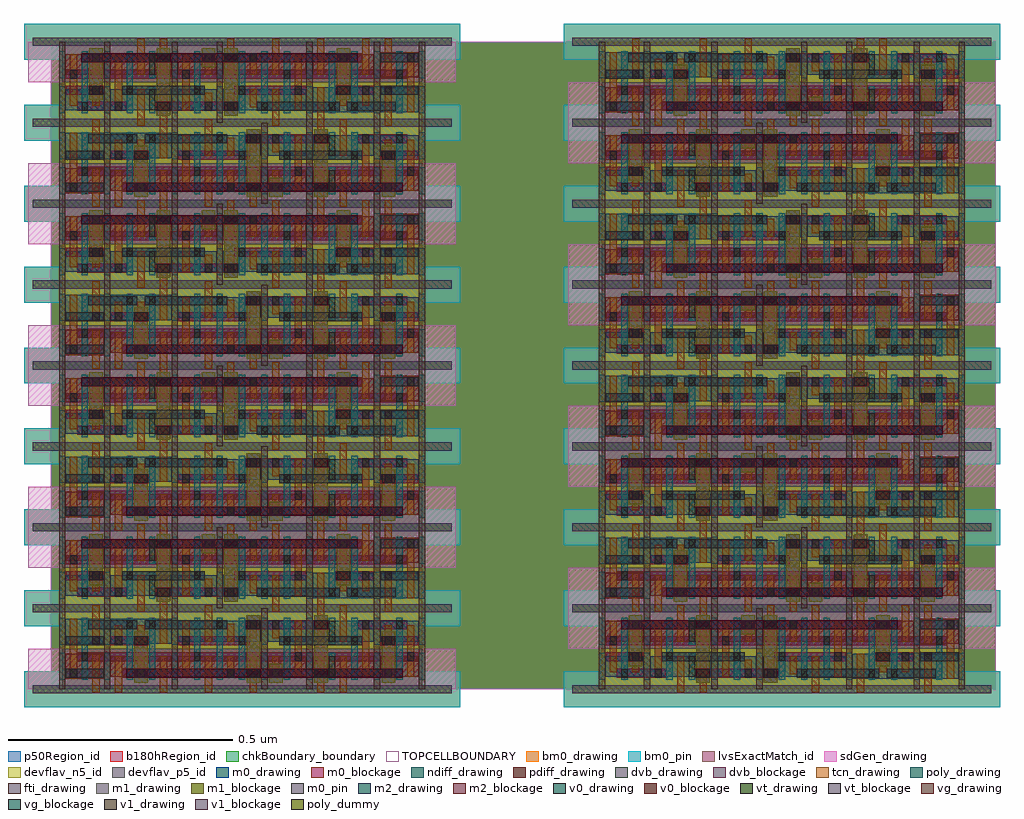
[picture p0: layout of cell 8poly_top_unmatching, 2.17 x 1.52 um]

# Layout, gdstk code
from math import pi, radians
import gdstk
lib = gdstk.Library(unit=1e-6, precision=5e-10)
def R(c, l, rs):  # rectangles x0, y0, x1, y1
    for r in rs: c.add(gdstk.rectangle(r[:2], r[2:], *l))
def A(c, l, x, y, w, h, nx, ny, dx, dy):  # array of equal rectangles
    R(c, l, [(x+i*dx, y+j*dy, x+i*dx+w, y+j*dy+h) for i in range(nx) for j in range(ny)])
ndiff_drawing = (1, 0)
poly_drawing = (2, 0)
poly_dummy = (2, 33)
m1_drawing = (4, 0)
m1_blockage = (4, 1)
tcn_drawing = (5, 0)
pdiff_drawing = (8, 0)
sdGen_drawing = (11, 0)
m2_drawing = (14, 0)
m2_blockage = (14, 1)
vt_drawing = (31, 0)
vt_blockage = (31, 1)
vg_drawing = (32, 0)
vg_blockage = (32, 1)
v1_drawing = (43, 0)
v1_blockage = (43, 1)
chkBoundary_boundary = (50, 0)
TOPCELLBOUNDARY = (50, 99)
m0_drawing = (55, 0)
m0_blockage = (55, 1)
m0_pin = (55, 2)
v0_drawing = (56, 0)
v0_blockage = (56, 1)
lvsExactMatch_id = (81, 434)
b180hRegion_id = (82, 137)
p50Region_id = (82, 420)
fti_drawing = (184, 0)
devflav_n5_id = (273, 170)
devflav_p5_id = (273, 171)
bm0_drawing = (366, 0)
bm0_pin = (366, 2)
dvb_drawing = (474, 0)
dvb_blockage = (474, 1)

ibmlan083aa1n03x5 = lib.new_cell('ibmlan083aa1n03x5')
R(ibmlan083aa1n03x5, ndiff_drawing, [(0.557,0.023,0.693,0.079), (0.707,0.023,0.793,0.079), (0.007,0.028,0.093,0.074), (0.107,0.028,0.243,0.074), (0.257,0.028,0.343,0.074), (0.357,0.028,0.543,0.074)])
A(ibmlan083aa1n03x5, poly_drawing, -0.007, 0.021, 0.014, 0.06, 3, 2, 0.1, 0.078)
A(ibmlan083aa1n03x5, poly_drawing, 0.393, 0.021, 0.014, 0.138, 3, 1, 0.05, 0)
R(ibmlan083aa1n03x5, poly_drawing, [(0.043,0.021,0.057,0.159), (0.143,0.021,0.157,0.159), (0.243,0.021,0.257,0.081), (0.293,0.021,0.307,0.159), (0.343,0.021,0.357,0.081), (0.543,0.021,0.557,0.081), (0.593,0.021,0.607,0.159), (0.643,0.021,0.657,0.159), (0.693,0.021,0.707,0.081), (0.743,0.021,0.757,0.159), (0.793,0.021,0.807,0.081), (0.243,0.099,0.257,0.159), (0.343,0.099,0.357,0.159), (0.543,0.099,0.557,0.159), (0.693,0.099,0.707,0.159), (0.793,0.099,0.807,0.159)])
R(ibmlan083aa1n03x5, poly_dummy, [(0.193,0.028,0.207,0.074), (0.193,0.106,0.207,0.152)])
R(ibmlan083aa1n03x5, m1_drawing, [(0.21,0.015,0.24,0.165), (0.36,0.015,0.39,0.165), (0.06,0.051,0.09,0.165), (0.61,0.051,0.64,0.165), (0.31,0.123,0.34,0.165)])
R(ibmlan083aa1n03x5, m1_blockage, [(0.21,0.015,0.24,0.165), (0.36,0.015,0.39,0.165), (0.06,0.051,0.09,0.165), (0.61,0.051,0.64,0.165), (0.31,0.123,0.34,0.165)])
A(ibmlan083aa1n03x5, tcn_drawing, 0.367, 0.106, 0.016, 0.081, 4, 1, 0.1, 0)
R(ibmlan083aa1n03x5, tcn_drawing, [(0.167,-0.007,0.183,0.074), (0.217,-0.007,0.233,0.074), (0.467,-0.007,0.483,0.074), (0.567,-0.007,0.583,0.079), (0.717,-0.007,0.733,0.082), (0.767,0.023,0.783,0.157), (0.117,0.026,0.133,0.152), (0.317,0.026,0.333,0.066), (0.367,0.026,0.383,0.066), (0.267,0.028,0.283,0.152), (0.517,0.028,0.533,0.152), (0.417,0.034,0.433,0.074), (0.017,0.038,0.033,0.152), (0.067,0.038,0.083,0.082), (0.617,0.038,0.633,0.078), (0.667,0.038,0.683,0.082), (0.717,0.101,0.733,0.187), (0.067,0.106,0.083,0.154), (0.167,0.106,0.183,0.187), (0.217,0.106,0.233,0.187), (0.317,0.106,0.333,0.154), (0.417,0.106,0.433,0.154), (0.617,0.106,0.633,0.154)])
R(ibmlan083aa1n03x5, pdiff_drawing, [(0.707,0.101,0.793,0.157), (0.007,0.106,0.093,0.152), (0.107,0.106,0.243,0.152), (0.257,0.106,0.343,0.152), (0.357,0.106,0.543,0.152), (0.557,0.106,0.693,0.152)])
R(ibmlan083aa1n03x5, sdGen_drawing, [(-0.075,0.09,0.875,0.18)])
R(ibmlan083aa1n03x5, m2_drawing, [(0.0425,0.134,0.6575,0.154)])
R(ibmlan083aa1n03x5, m2_blockage, [(0.0425,0.134,0.6575,0.154)])
R(ibmlan083aa1n03x5, vt_drawing, [(0.117,0.026,0.133,0.046), (0.317,0.026,0.333,0.046), (0.367,0.026,0.383,0.046), (0.067,0.062,0.083,0.082), (0.517,0.062,0.533,0.082), (0.667,0.062,0.683,0.082), (0.717,0.062,0.733,0.082), (0.017,0.098,0.033,0.118), (0.267,0.098,0.283,0.118), (0.067,0.134,0.083,0.154), (0.317,0.134,0.333,0.154), (0.417,0.134,0.433,0.154), (0.617,0.134,0.633,0.154), (0.767,0.134,0.783,0.154)])
R(ibmlan083aa1n03x5, vt_blockage, [(0.117,0.026,0.133,0.046), (0.317,0.026,0.333,0.046), (0.367,0.026,0.383,0.046), (0.067,0.062,0.083,0.082), (0.517,0.062,0.533,0.082), (0.667,0.062,0.683,0.082), (0.717,0.062,0.733,0.082), (0.017,0.098,0.033,0.118), (0.267,0.098,0.283,0.118), (0.067,0.134,0.083,0.154), (0.317,0.134,0.333,0.154), (0.417,0.134,0.433,0.154), (0.617,0.134,0.633,0.154), (0.767,0.134,0.783,0.154)])
R(ibmlan083aa1n03x5, vg_drawing, [(0.043,0.026,0.057,0.046), (0.443,0.026,0.457,0.046), (0.593,0.026,0.607,0.046), (0.643,0.026,0.657,0.046), (0.143,0.062,0.157,0.082), (0.293,0.062,0.307,0.082), (0.393,0.062,0.407,0.082), (0.493,0.098,0.507,0.118), (0.743,0.098,0.757,0.118)])
R(ibmlan083aa1n03x5, vg_blockage, [(0.043,0.026,0.057,0.046), (0.443,0.026,0.457,0.046), (0.593,0.026,0.607,0.046), (0.643,0.026,0.657,0.046), (0.143,0.062,0.157,0.082), (0.293,0.062,0.307,0.082), (0.393,0.062,0.407,0.082), (0.493,0.098,0.507,0.118), (0.743,0.098,0.757,0.118)])
R(ibmlan083aa1n03x5, v1_drawing, [(0.06,0.134,0.09,0.154), (0.31,0.134,0.34,0.154), (0.61,0.134,0.64,0.154)])
R(ibmlan083aa1n03x5, v1_blockage, [(0.06,0.134,0.09,0.154), (0.31,0.134,0.34,0.154), (0.61,0.134,0.64,0.154)])
R(ibmlan083aa1n03x5, chkBoundary_boundary, [(0,0,0.8,0.18)])
R(ibmlan083aa1n03x5, m0_drawing, [(0.033,0.026,0.142,0.046), (0.208,0.026,0.392,0.046), (0.433,0.026,0.617,0.046), (0.633,0.026,0.742,0.046), (0.008,0.062,0.092,0.082), (0.133,0.062,0.317,0.082), (0.383,0.062,0.542,0.082), (0.608,0.062,0.692,0.082), (0.708,0.062,0.792,0.082), (0.008,0.098,0.767,0.118), (0.058,0.134,0.242,0.154), (0.283,0.134,0.342,0.154), (0.358,0.134,0.442,0.154), (0.583,0.134,0.667,0.154), (0.708,0.134,0.792,0.154)])
R(ibmlan083aa1n03x5, m0_blockage, [(0.033,0.026,0.142,0.046), (0.208,0.026,0.392,0.046), (0.008,0.062,0.092,0.082), (0.383,0.062,0.542,0.082), (0.608,0.062,0.692,0.082), (0.008,0.098,0.767,0.118), (0.058,0.134,0.242,0.154), (0.283,0.134,0.342,0.154), (0.358,0.134,0.442,0.154), (0.583,0.134,0.667,0.154)])
R(ibmlan083aa1n03x5, m0_pin, [(0.433,0.026,0.617,0.046), (0.633,0.026,0.742,0.046), (0.133,0.062,0.317,0.082), (0.708,0.062,0.792,0.082), (0.708,0.134,0.792,0.154)])
R(ibmlan083aa1n03x5, v0_drawing, [(0.21,0.026,0.24,0.046), (0.36,0.026,0.39,0.046), (0.06,0.062,0.09,0.082), (0.61,0.062,0.64,0.082), (0.21,0.134,0.24,0.154), (0.31,0.134,0.34,0.154), (0.36,0.134,0.39,0.154), (0.61,0.134,0.64,0.154)])
R(ibmlan083aa1n03x5, v0_blockage, [(0.21,0.026,0.24,0.046), (0.36,0.026,0.39,0.046), (0.06,0.062,0.09,0.082), (0.61,0.062,0.64,0.082), (0.21,0.134,0.24,0.154), (0.31,0.134,0.34,0.154), (0.36,0.134,0.39,0.154), (0.61,0.134,0.64,0.154)])
R(ibmlan083aa1n03x5, lvsExactMatch_id, [(0,0,0.8,0.18)])
R(ibmlan083aa1n03x5, b180hRegion_id, [(-0.025,0,0.825,0.18)])
R(ibmlan083aa1n03x5, p50Region_id, [(-0.025,0,0.825,0.18)])
R(ibmlan083aa1n03x5, fti_drawing, [(-0.007,0,0.007,0.18), (0.093,0,0.107,0.18), (0.243,0,0.257,0.18), (0.343,0,0.357,0.18), (0.543,0,0.557,0.18), (0.693,0,0.707,0.18), (0.793,0,0.807,0.18)])
R(ibmlan083aa1n03x5, devflav_n5_id, [(0,0,0.8,0.09)])
R(ibmlan083aa1n03x5, devflav_p5_id, [(0,0.09,0.8,0.18)])
R(ibmlan083aa1n03x5, bm0_drawing, [(-0.085,-0.04,0.885,0.04), (-0.085,0.14,0.885,0.22)])
R(ibmlan083aa1n03x5, bm0_pin, [(-0.085,-0.04,0.885,0.04), (-0.085,0.14,0.885,0.22)])
R(ibmlan083aa1n03x5, dvb_drawing, [(-0.0655,-0.009,0.8655,0.009), (-0.0655,0.171,0.8655,0.189)])
R(ibmlan083aa1n03x5, dvb_blockage, [(-0.0655,-0.009,0.8655,0.009), (-0.0655,0.171,0.8655,0.189)])
ibmlan083aa1n03x5.add(gdstk.Label('nk1', (0.75,0.09), layer=2, texttype=0))
ibmlan083aa1n03x5.add(gdstk.Label('clkb', (0.15,0.09), layer=2, texttype=0))
ibmlan083aa1n03x5.add(gdstk.Label('nc3', (0.05,0.09), layer=2, texttype=0))
ibmlan083aa1n03x5.add(gdstk.Label('clkb', (0.3,0.09), layer=2, texttype=0))
ibmlan083aa1n03x5.add(gdstk.Label('nk1', (0.5,0.09), layer=2, texttype=0))
ibmlan083aa1n03x5.add(gdstk.Label('rb', (0.45,0.09), layer=2, texttype=0))
ibmlan083aa1n03x5.add(gdstk.Label('nk2', (0.4,0.09), layer=2, texttype=0))
ibmlan083aa1n03x5.add(gdstk.Label('d', (0.65,0.09), layer=2, texttype=0))
ibmlan083aa1n03x5.add(gdstk.Label('rb', (0.6,0.09), layer=2, texttype=0))
ibmlan083aa1n03x5.add(gdstk.Label('nk5', (0.225,0.09), layer=4, texttype=0))
ibmlan083aa1n03x5.add(gdstk.Label('n10', (0.325,0.144), layer=4, texttype=0))
ibmlan083aa1n03x5.add(gdstk.Label('nk5', (0.375,0.09), layer=4, texttype=0))
ibmlan083aa1n03x5.add(gdstk.Label('n10', (0.625,0.108), layer=4, texttype=0))
ibmlan083aa1n03x5.add(gdstk.Label('n10', (0.075,0.108), layer=4, texttype=0))
ibmlan083aa1n03x5.add(gdstk.Label('n10', (0.075,0.06), layer=5, texttype=0))
ibmlan083aa1n03x5.add(gdstk.Label('o', (0.775,0.09), layer=5, texttype=0))
ibmlan083aa1n03x5.add(gdstk.Label('vcc', (0.725,0.144), layer=5, texttype=0))
ibmlan083aa1n03x5.add(gdstk.Label('nc3', (0.125,0.089), layer=5, texttype=0))
ibmlan083aa1n03x5.add(gdstk.Label('nk5', (0.075,0.13), layer=5, texttype=0))
ibmlan083aa1n03x5.add(gdstk.Label('nk1', (0.025,0.095), layer=5, texttype=0))
ibmlan083aa1n03x5.add(gdstk.Label('n10', (0.325,0.13), layer=5, texttype=0))
ibmlan083aa1n03x5.add(gdstk.Label('nk1', (0.275,0.09), layer=5, texttype=0))
ibmlan083aa1n03x5.add(gdstk.Label('nk2', (0.525,0.09), layer=5, texttype=0))
ibmlan083aa1n03x5.add(gdstk.Label('nk5', (0.425,0.13), layer=5, texttype=0))
ibmlan083aa1n03x5.add(gdstk.Label('n10', (0.625,0.13), layer=5, texttype=0))
ibmlan083aa1n03x5.add(gdstk.Label('vssx', (0.575,0.036), layer=5, texttype=0))
ibmlan083aa1n03x5.add(gdstk.Label('vssx', (0.725,0.0375), layer=5, texttype=0))
ibmlan083aa1n03x5.add(gdstk.Label('vssx', (0.475,0.0335), layer=5, texttype=0))
ibmlan083aa1n03x5.add(gdstk.Label('vcc', (0.675,0.1465), layer=5, texttype=0))
ibmlan083aa1n03x5.add(gdstk.Label('n10', (0.675,0.06), layer=5, texttype=0))
ibmlan083aa1n03x5.add(gdstk.Label('g2|n1', (0.625,0.058), layer=5, texttype=0))
ibmlan083aa1n03x5.add(gdstk.Label('vcc', (0.575,0.1465), layer=5, texttype=0))
ibmlan083aa1n03x5.add(gdstk.Label('vcc', (0.475,0.1465), layer=5, texttype=0))
ibmlan083aa1n03x5.add(gdstk.Label('g4lp1|n1', (0.425,0.054), layer=5, texttype=0))
ibmlan083aa1n03x5.add(gdstk.Label('vcc', (0.375,0.1465), layer=5, texttype=0))
ibmlan083aa1n03x5.add(gdstk.Label('nk5', (0.375,0.046), layer=5, texttype=0))
ibmlan083aa1n03x5.add(gdstk.Label('nk5', (0.325,0.046), layer=5, texttype=0))
ibmlan083aa1n03x5.add(gdstk.Label('vcc', (0.225,0.1465), layer=5, texttype=0))
ibmlan083aa1n03x5.add(gdstk.Label('vssx', (0.225,0.0335), layer=5, texttype=0))
ibmlan083aa1n03x5.add(gdstk.Label('vcc', (0.175,0.1465), layer=5, texttype=0))
ibmlan083aa1n03x5.add(gdstk.Label('vssx', (0.175,0.0335), layer=5, texttype=0))
ibmlan083aa1n03x5.add(gdstk.Label('n10', (0.35,0.144), layer=14, texttype=0))
ibmlan083aa1n03x5.add(gdstk.Label('d', (0.6875,0.036), layer=55, texttype=0))
ibmlan083aa1n03x5.add(gdstk.Label('clkb', (0.225,0.072), layer=55, texttype=0))
ibmlan083aa1n03x5.add(gdstk.Label('o', (0.75,0.144), layer=55, texttype=0))
ibmlan083aa1n03x5.add(gdstk.Label('rb', (0.525,0.036), layer=55, texttype=0))
ibmlan083aa1n03x5.add(gdstk.Label('vssx', (0.75,0.072), layer=55, texttype=0))
ibmlan083aa1n03x5.add(gdstk.Label('nk5', (0.15,0.144), layer=55, texttype=0))
ibmlan083aa1n03x5.add(gdstk.Label('n10', (0.3125,0.144), layer=55, texttype=0))
ibmlan083aa1n03x5.add(gdstk.Label('n10', (0.65,0.072), layer=55, texttype=0))
ibmlan083aa1n03x5.add(gdstk.Label('n10', (0.625,0.144), layer=55, texttype=0))
ibmlan083aa1n03x5.add(gdstk.Label('nk1', (0.3875,0.108), layer=55, texttype=0))
ibmlan083aa1n03x5.add(gdstk.Label('nk5', (0.3,0.036), layer=55, texttype=0))
ibmlan083aa1n03x5.add(gdstk.Label('nk5', (0.4,0.144), layer=55, texttype=0))
ibmlan083aa1n03x5.add(gdstk.Label('nk2', (0.4625,0.072), layer=55, texttype=0))
ibmlan083aa1n03x5.add(gdstk.Label('vssx', (0.75,0.072), layer=55, texttype=0))
ibmlan083aa1n03x5.add(gdstk.Label('nc3', (0.0875,0.036), layer=55, texttype=0))
ibmlan083aa1n03x5.add(gdstk.Label('clkb', (0.225,0.072), layer=55, texttype=0))
ibmlan083aa1n03x5.add(gdstk.Label('rb', (0.525,0.036), layer=55, texttype=0))
ibmlan083aa1n03x5.add(gdstk.Label('n10', (0.05,0.072), layer=55, texttype=0))
ibmlan083aa1n03x5.add(gdstk.Label('d', (0.6875,0.036), layer=55, texttype=0))
ibmlan083aa1n03x5.add(gdstk.Label('o', (0.75,0.144), layer=55, texttype=0))
ibmlan083aa1n03x5.add(gdstk.Label('d', (0.6875,0.036), layer=55, texttype=2))
ibmlan083aa1n03x5.add(gdstk.Label('clkb', (0.225,0.072), layer=55, texttype=2))
ibmlan083aa1n03x5.add(gdstk.Label('o', (0.75,0.144), layer=55, texttype=2))
ibmlan083aa1n03x5.add(gdstk.Label('rb', (0.525,0.036), layer=55, texttype=2))
ibmlan083aa1n03x5.add(gdstk.Label('vssx', (0.75,0.072), layer=55, texttype=2))
ibmlan083aa1n03x5.add(gdstk.Label('vssx', (0.4,0), layer=366, texttype=2))
ibmlan083aa1n03x5.add(gdstk.Label('vcc', (0.4,0.18), layer=366, texttype=2))
ibmlan083aa1n03x5.add(gdstk.Label('vcc', (0.4,0.18), layer=366, texttype=0))
ibmlan083aa1n03x5.add(gdstk.Label('vssx', (0.4,0), layer=366, texttype=0))
ibmlan083aa1n03x5.add(gdstk.Label('vssx', (0.4,0), layer=366, texttype=0))
ibmlan083aa1n03x5.add(gdstk.Label('vcc', (0.4,0.18), layer=366, texttype=0))

c_8poly_top_unmatching = lib.new_cell('8poly_top_unmatching')
R(c_8poly_top_unmatching, chkBoundary_boundary, [(0,0,2.1,1.44)])
R(c_8poly_top_unmatching, TOPCELLBOUNDARY, [(0,0,2.1,1.44)])
R(c_8poly_top_unmatching, b180hRegion_id, [(0,0,2.1,1.44)])
R(c_8poly_top_unmatching, p50Region_id, [(0,0,2.1,1.44)])
c_8poly_top_unmatching.add(gdstk.Reference(ibmlan083aa1n03x5, (0.025,0.54)))
c_8poly_top_unmatching.add(gdstk.Reference(ibmlan083aa1n03x5, (0.025,0.18)))
c_8poly_top_unmatching.add(gdstk.Reference(ibmlan083aa1n03x5, (1.225,0)))
c_8poly_top_unmatching.add(gdstk.Reference(ibmlan083aa1n03x5, (2.025,0.36), rotation=pi))
c_8poly_top_unmatching.add(gdstk.Reference(ibmlan083aa1n03x5, (0.825,0.18), rotation=pi))
c_8poly_top_unmatching.add(gdstk.Reference(ibmlan083aa1n03x5, (1.225,0.36)))
c_8poly_top_unmatching.add(gdstk.Reference(ibmlan083aa1n03x5, (2.025,0.72), rotation=pi))
c_8poly_top_unmatching.add(gdstk.Reference(ibmlan083aa1n03x5, (0.825,0.54), rotation=pi))
c_8poly_top_unmatching.add(gdstk.Reference(ibmlan083aa1n03x5, (0.025,0.9)))
c_8poly_top_unmatching.add(gdstk.Reference(ibmlan083aa1n03x5, (1.225,0.72)))
c_8poly_top_unmatching.add(gdstk.Reference(ibmlan083aa1n03x5, (2.025,1.08), rotation=pi))
c_8poly_top_unmatching.add(gdstk.Reference(ibmlan083aa1n03x5, (0.825,0.9), rotation=pi))
c_8poly_top_unmatching.add(gdstk.Reference(ibmlan083aa1n03x5, (1.225,1.08)))
c_8poly_top_unmatching.add(gdstk.Reference(ibmlan083aa1n03x5, (2.025,1.44), rotation=pi))
c_8poly_top_unmatching.add(gdstk.Reference(ibmlan083aa1n03x5, (0.825,1.26), rotation=pi))
c_8poly_top_unmatching.add(gdstk.Reference(ibmlan083aa1n03x5, (0.025,1.26)))

lib.write_gds('8poly_top_unmatching.gds')
